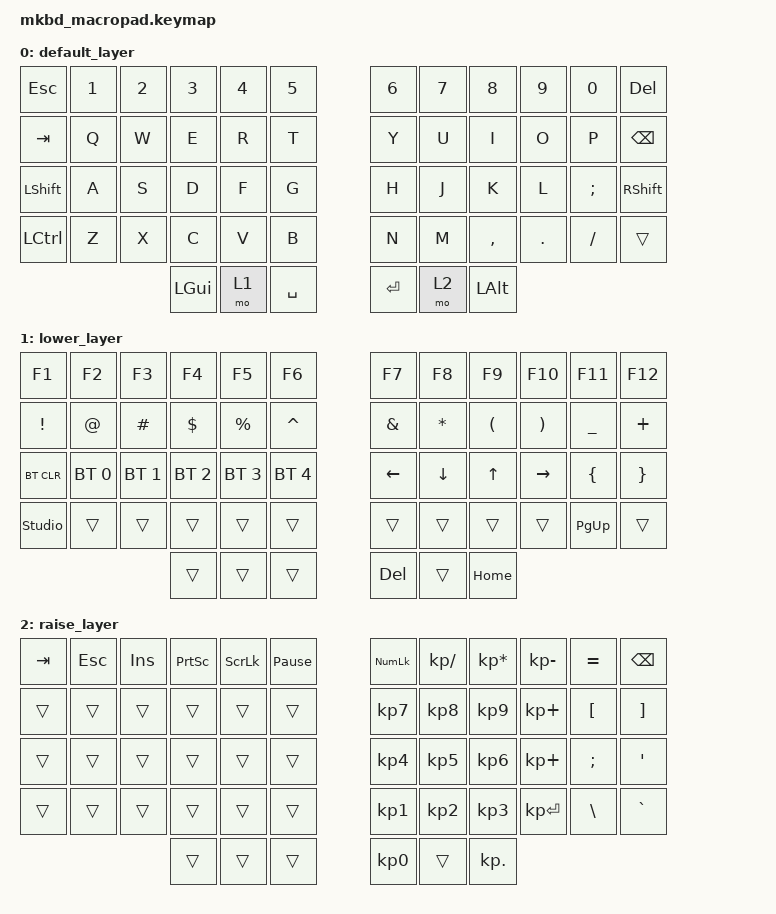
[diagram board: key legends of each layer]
#include <behaviors.dtsi>
#include <dt-bindings/zmk/bt.h>
#include <dt-bindings/zmk/keys.h>
#include <dt-bindings/zmk/ext_power.h>
#include <dt-bindings/zmk/outputs.h>

/ {
        keymap {
                compatible = "zmk,keymap";

                default_layer {
// -----------------------------------------------------------------------------------------
// | ESC  |  1   |  2  |  3  |  4  |  5  |   |  6  |  7  |  8  |  9  |  0  |  DEL  | 
// | TAB  |  Q   |  W  |  E  |  R  |  T  |   |  Y  |  U  |  I  |  O  |  P  |  BSPC | 
// |SHIFT |  A   |  S  |  D  |  F  |  G  |   |  H  |  J  |  K  |  L  |  ;  |  SHIFT|
// |LCTRL |  Z   |  X  |  C  |  V  |  B  |   |  N  |  M  |  ,  |  .  |  /  | trans |
//                     |WIN  |LWR  |SPC  |   |ENTER| RSE | ALT |
                        bindings = <
   &kp ESC   &kp N1   &kp N2   &kp N3   &kp N4    &kp N5       &kp N6    &kp N7   &kp N8   &kp N9    &kp N0    &kp DEL
   &kp TAB   &kp Q    &kp W    &kp E    &kp R     &kp T        &kp Y     &kp U    &kp I    &kp O     &kp P     &kp BSPC
   &kp LSHFT &kp A    &kp S    &kp D    &kp F     &kp G        &kp H     &kp J    &kp K    &kp L     &kp SEMI  &kp RSHFT
   &kp LCTRL &kp Z    &kp X    &kp C    &kp V     &kp B        &kp N     &kp M    &kp COMMA &kp DOT  &kp FSLH  &trans
                              &kp LGUI &mo 1     &kp SPACE    &kp RET   &mo 2    &kp LALT
                        >;
                };
                lower_layer {
// -----------------------------------------------------------------------------------------
// |  F1  | F2  | F3  | F4  | F5  | F6  |   | F7  | F8  | F9  | F10 | F11 | F12 |
// |  !   |  @  |  #  |  $  |  %  |  ^  |   |  &  |  *  |  (  |  )  |  _  |  +  |
// |BTCLR | BT1 | BT2 | BT3 | BT4 | BT5 |   | LFT | DWN |  UP | RGT |  {  |  }  |
// |stud |     |     |     |     |     |   |     |     |     |     |PGUP |     |
//                     |     |     |     |   | DEL |     |HOME |
                        bindings = <
   &kp F1     &kp F2       &kp F3       &kp F4       &kp F5       &kp F6         &kp F7   &kp F8   &kp F9   &kp F10   &kp F11   &kp F12
   &kp EXCL   &kp AT       &kp HASH     &kp DLLR     &kp PRCNT    &kp CARET      &kp AMPS &kp ASTRK &kp LPAR &kp RPAR  &kp UNDER &kp PLUS
   &bt BT_CLR &bt BT_SEL 0 &bt BT_SEL 1 &bt BT_SEL 2 &bt BT_SEL 3 &bt BT_SEL 4   &kp LEFT &kp DOWN &kp UP   &kp RIGHT &kp LBRC  &kp RBRC
   &studio_unlock  &trans       &trans       &trans       &trans       &trans         &trans   &trans   &trans   &trans    &kp PG_UP &trans
                                       &trans       &trans       &trans         &kp DEL  &trans   &kp HOME
                        >;
                };

                raise_layer {
// -----------------------------------------------------------------------------------------
// | TAB  | ESC | INS | PSCR| SLCK| PAUS|   | NUM | /   | *   | -   | =   | BSPC|
// |      |     |     |     |     |     |   |  7  |  8  |  9  | +   | [   | ]   |
// |      |     |     |     |     |     |   |  4  |  5  |  6  | +   | ;   | '   |
// |      |     |     |     |     |     |   |  1  |  2  |  3  |ENTER| \   | `   |
//                     |     |     |     |   |  0  |     | .   |
                        bindings = <
   &kp TAB   &kp ESC  &kp INS  &kp PSCRN &kp SLCK &kp PAUSE_BREAK   &kp KP_NUM &kp KP_DIVIDE &kp KP_MULTIPLY &kp KP_MINUS &kp EQUAL &kp BSPC
   &trans    &trans   &trans   &trans    &trans   &trans            &kp KP_N7  &kp KP_N8     &kp KP_N9       &kp KP_PLUS  &kp LBKT  &kp RBKT
   &trans    &trans   &trans   &trans    &trans   &trans            &kp KP_N4  &kp KP_N5     &kp KP_N6       &kp KP_PLUS  &kp SEMI  &kp SQT
   &trans    &trans   &trans   &trans    &trans   &trans            &kp KP_N1  &kp KP_N2     &kp KP_N3       &kp KP_ENTER &kp BSLH  &kp GRAVE
                                       &trans    &trans   &trans            &kp KP_N0  &trans        &kp KP_DOT
                        >;
                };
        };
};
